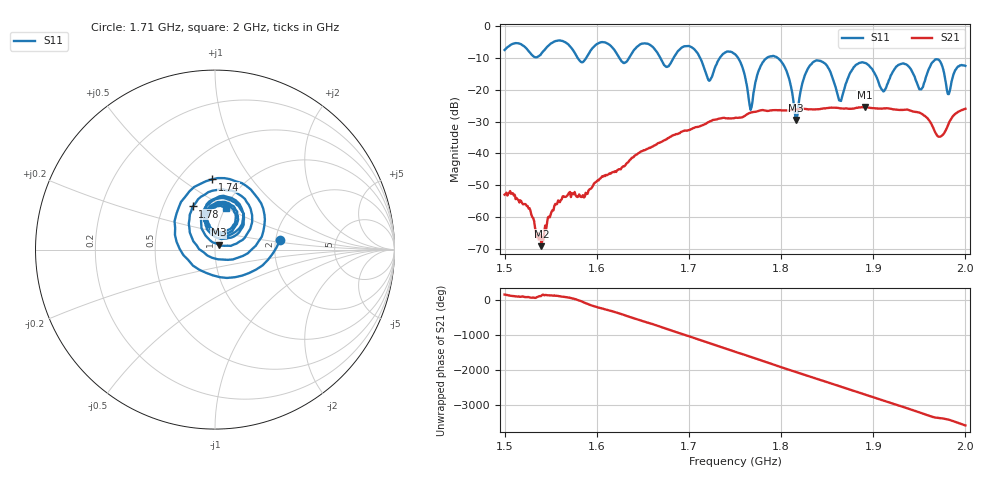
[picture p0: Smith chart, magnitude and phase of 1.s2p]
! NanoVNA-App by SYSJOINT et al v1.1.209 (+OD18)
! Date: 2026-01-21 14:14:02
! Start: 1,5GHz Stop: 2GHz Points: 501
! S-Parameter data: F S11 S21 S12 S22
# Hz S RI R 50
!  Frequency  S11_Real  S11_Imag  S21_Real  S21_Imag  S12_Real  S12_Imag  S22_Real  S22_Imag
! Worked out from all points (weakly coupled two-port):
!   501 points, 1.5 GHz to 2 GHz, reference 50 ohm
!   highest |S21| = -25.45 dB at 1.891 GHz (marker M1); lowest = -69.2 dB at 1.54 GHz (marker M2)
!   lowest |S11| = -29.5 dB at 1.816 GHz (marker M3), VSWR 1.07, Z = 52 + j2.82 ohm
!   |S11| at or under -10 dB: 1.712 GHz to 1.733 GHz (21.17 MHz wide, 1.23 % of centre); 1.753 GHz to 1.784 GHz (30.96 MHz wide, 1.75 % of centre); 1.796 GHz to end of sweep (the widest 3 of 6)
!   S12 and S22 are empty: the file has one direction only
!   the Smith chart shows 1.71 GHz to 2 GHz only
!   S11 on the Smith chart (normalised r, x): 1.71 GHz: 2.11, +0.26; 1.74 GHz: 0.71, +0.66; 1.78 GHz: 0.70, +0.36; 2 GHz: 1.02, +0.49
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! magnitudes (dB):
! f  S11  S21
! 1.5 GHz  -7.4  -53.0
! 1.54 GHz  -8.5  -69.2
! 1.557 GHz  -4.6  -55.9
! 1.584 GHz  -11.3  -53.7
! 1.667 GHz  -9.0  -36.7
! 1.71 GHz  -8.7  -31.7
! 1.722 GHz  -17.2  -30.0
! 1.74 GHz  -8.1  -29.0
! 1.75 GHz  -8.8  -28.8
! 1.767 GHz  -26.3  -27.2
! 1.78 GHz  -11.3  -26.4
! 1.802 GHz  -11.8  -26.5
! 1.816 GHz  -29.5  -26.2
! 1.834 GHz  -11.5  -26.2
! 1.864 GHz  -23.3  -25.8
! 1.891 GHz  -11.5  -25.4
! 1.917 GHz  -17.0  -25.9
! 1.934 GHz  -11.9  -26.3
! 1.952 GHz  -19.8  -27.5
! 1.972 GHz  -10.8  -34.8
! 1.982 GHz  -21.4  -30.5
! 2 GHz  -12.5  -26.0
